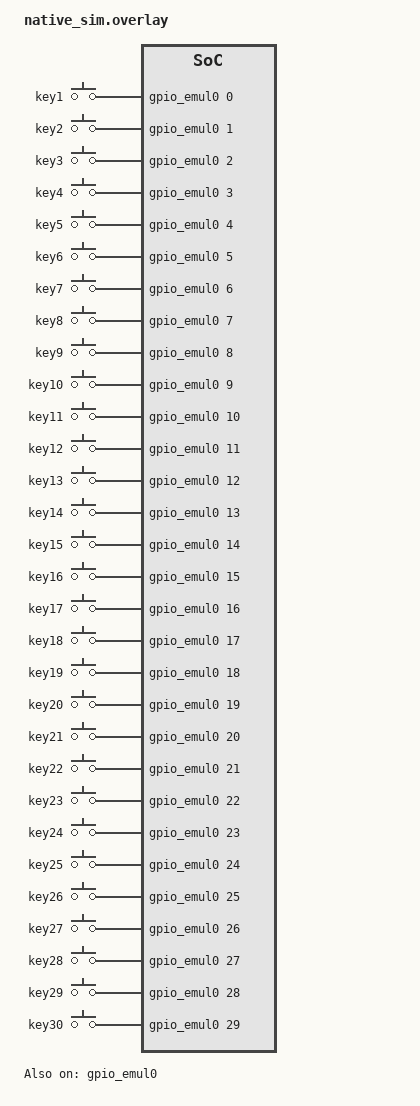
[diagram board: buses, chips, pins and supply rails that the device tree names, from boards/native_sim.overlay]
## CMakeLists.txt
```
# SPDX-License-Identifier: Apache-2.0

cmake_minimum_required(VERSION 3.20.0)
find_package(Zephyr REQUIRED HINTS $ENV{ZEPHYR_BASE})
project(digital_twin)


if(CONFIG_BOARD_NATIVE_SIM)
    # enable sim sources here
    FILE(GLOB specific_sources "native_sim/src/*.c" )
    target_include_directories(app PRIVATE ${CMAKE_CURRENT_SOURCE_DIR}/native_sim/inc)
   
else()
    #specify hardware drivers
   
    FILE(GLOB specific_sources 
        "hardwareControl/src/*.c" 
        "hardware/src/*.c")
    target_include_directories(app PRIVATE 
        ${CMAKE_CURRENT_SOURCE_DIR}/hardwareControl/inc 
        ${CMAKE_CURRENT_SOURCE_DIR}/hardware/inc )
endif()
#set(SOURCES ${app_sources} ${app_headers})

FILE(GLOB app_sources "src/*.c" )       # common source files (both the sim and the real deal)
FILE(GLOB states "states/src/*.c" )
FILE(GLOB tests "tests/src/*.c" )       # Specifically for testing, might not be necessary later.

target_sources(app PRIVATE 
    ${app_sources}
    ${states}
    ${tests}        # Specifically for testing, might not be necessary later.
    
    ${specific_sources}
    ${hardware}
    )

target_include_directories(app PRIVATE 
        ${CMAKE_CURRENT_SOURCE_DIR}/inc
        ${CMAKE_CURRENT_SOURCE_DIR}/states/inc
        ${CMAKE_CURRENT_SOURCE_DIR}/tests/inc   # Specifically for testing, might not be necessary later.
)

message(STATUS "\n CMAKE DEBUG INFO \n Sources: ${app_sources}")
message(STATUS "States: ${states}")
message(STATUS "dir  ${CMAKE_CURRENT_SOURCE_DIR}")
message(STATUS " \n\n\n\ FOR THE BOARD ${CONFIG_BOARD} \n\n\n\ " )
message(STATUS "$ENV{ZEPHYR_BASE}")
message(STATUS "Include directories: ${CMAKE_CURRENT_SOURCE_DIR}/inc ${CMAKE_CURRENT_SOURCE_DIR}/states/inc")

message(STATUS " END OF CMAKE \n\n\n\n\n\n\n\n\ " )
```

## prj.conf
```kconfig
# CONFIG_GPIO=y
# CONFIG_GPIO_EMUL=y

# # LVGL config
# CONFIG_LVGL=y
# CONFIG_LV_MEM_CUSTOM=y
# CONFIG_LV_USE_LOG=y
# CONFIG_LV_USE_LABEL=y
# CONFIG_LV_USE_BTN=y
# CONFIG_LV_USE_ARC=y
# CONFIG_LV_USE_IMG=y

# CONFIG_ENTROPY_GENERATOR=y
```

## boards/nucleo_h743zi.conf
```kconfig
CONFIG_GPIO=y
CONFIG_DEBUG_OPTIMIZATIONS=y
CONFIG_SIZE_OPTIMIZATIONS=n
CONFIG_SPEED_OPTIMIZATIONS=n
CONFIG_ENTROPY_GENERATOR=y

CONFIG_STDOUT_CONSOLE=y
CONFIG_CBPRINTF_FP_SUPPORT=y

CONFIG_I2C=y
CONFIG_SENSOR=y
CONFIG_LSM6DSO_TRIGGER_NONE=y
CONFIG_LIS3MDL_ODR="155"

CONFIG_LSM6DSO=y
CONFIG_LSM6DSO_TRIGGER_NONE=y
CONFIG_PWM=y

CONFIG_GNSS=y
CONFIG_GNSS_SATELLITES=y

CONFIG_UART_INTERRUPT_DRIVEN=y
CONFIG_MODEM_MODULES=y

CONFIG_GNSS_SATELLITES=y
<<<<<<< Updated upstream:native_sim/boards/nucleo_h743zi.conf



CONFIG_DISK_ACCESS=y
CONFIG_SPI=y
CONFIG_FILE_SYSTEM=y

CONFIG_FAT_FILESYSTEM_ELM=y


CONFIG_MAIN_STACK_SIZE=16384
#CONFIG_STM32_VREF=n
#CONFIG_STM32_VBAT=n
#CONFIG_STM32_TEMP=n



#CONFIG_SDHC_SUPPORT_SPI_MODE=y
#CONFIG_DISK_DRIVER_SDHC=y
```

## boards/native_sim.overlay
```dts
#include <zephyr/dt-bindings/input/input-event-codes.h>
#include <zephyr/dt-bindings/lvgl/lvgl.h>

/ {
	aliases {
		sw0 = &key1;
		sw1  = &key2;
		sw2  = &key3;
		sw3  = &key4;
		sw4  = &key5;
		sw5  = &key6;
		sw6  = &key7;
		sw7  = &key8;
		sw8  = &key9;
		sw9  = &key10;
		sw10 = &key11;
		sw11 = &key12;
		sw12 = &key13;
		sw13 = &key14;
		sw14 = &key15;
		sw15 = &key16;
		sw16 = &key17;
		sw17 = &key18;
		sw18 = &key19;
		sw19 = &key20;
		sw20 = &key21;
		sw21 = &key22;
		sw22 = &key23;
		sw23 = &key24;
		sw24 = &key25;
		sw25 = &key26;
		sw26 = &key27;
		sw27 = &key28;
		sw28 = &key29;
		sw29 = &key30;

		//gpio0 = &gpio_emul0;
	};

	//emulated gpio description
    gpio_emul0: gpio_emul_0@0 {
		status = "okay";
		compatible = "zephyr,gpio-emul";
		rising-edge;
		falling-edge;
		high-level;
		low-level;
		gpio-controller;
		ngpios = <30>; // Number of GPIO pins
		#gpio-cells = <2>;
		reg = <0 0x1000>;
	};
	
	keys: keys {
		compatible = "gpio-keys";
		//16 keys 4x4 matrix
		key1: key1 {
			gpios = <&gpio_emul0 0 GPIO_ACTIVE_HIGH>;
			zephyr,code = <INPUT_KEY_1>;
		};
		key2: key2 {
			gpios = <&gpio_emul0 1 GPIO_ACTIVE_HIGH>;
			zephyr,code = <INPUT_KEY_2>;
		};
		key3: key3 {
			gpios = <&gpio_emul0 2 GPIO_ACTIVE_HIGH>;
			zephyr,code = <INPUT_KEY_3>;
		};
		key4: key4 {
			gpios = <&gpio_emul0 3 GPIO_ACTIVE_HIGH>;
			zephyr,code = <INPUT_KEY_4>;
		};
		key5: key5 {
			gpios = <&gpio_emul0 4 GPIO_ACTIVE_HIGH>;
			zephyr,code = <INPUT_KEY_Q>;
		};
		key6: key6 {
			gpios = <&gpio_emul0 5 GPIO_ACTIVE_HIGH>;
			zephyr,code = <INPUT_KEY_W>;
		};
		key7: key7 {
			gpios = <&gpio_emul0 6 GPIO_ACTIVE_HIGH>;
			zephyr,code = <INPUT_KEY_E>;
		};
		key8: key8 {
			gpios = <&gpio_emul0 7 GPIO_ACTIVE_HIGH>;
			zephyr,code = <INPUT_KEY_R>;
		};
		key9: key9 {
			gpios = <&gpio_emul0 8 GPIO_ACTIVE_HIGH>;
			zephyr,code = <INPUT_KEY_A>;
		};
		key10: key10 {
			gpios = <&gpio_emul0 9 GPIO_ACTIVE_HIGH>;
			zephyr,code = <INPUT_KEY_S>;
		};
		key11: key11 {
			gpios = <&gpio_emul0 10 GPIO_ACTIVE_HIGH>;
			zephyr,code = <INPUT_KEY_D>;
		};
		key12: key12 {
			gpios = <&gpio_emul0 11 GPIO_ACTIVE_HIGH>;
			zephyr,code = <INPUT_KEY_F>;
		};
		key13: key13 {
			gpios = <&gpio_emul0 12 GPIO_ACTIVE_HIGH>;
			zephyr,code = <INPUT_KEY_Z>;
		};
		key14: key14 {
			gpios = <&gpio_emul0 13 GPIO_ACTIVE_HIGH>;
			zephyr,code = <INPUT_KEY_X>;
		};
		key15: key15 {
			gpios = <&gpio_emul0 14 GPIO_ACTIVE_HIGH>;
			zephyr,code = <INPUT_KEY_C>;
		};
		key16: key16 {
			gpios = <&gpio_emul0 15 GPIO_ACTIVE_HIGH>;
			zephyr,code = <INPUT_KEY_V>;
		};
		//3 ABC buttons
		key17: key17 {
			gpios = <&gpio_emul0 16 GPIO_ACTIVE_HIGH>;
			zephyr,code = <INPUT_KEY_5>;
		};
		key18: key18 {
			gpios = <&gpio_emul0 17 GPIO_ACTIVE_HIGH>;
			zephyr,code = <INPUT_KEY_6>;
		};
		key19: key19 {
			gpios = <&gpio_emul0 18 GPIO_ACTIVE_HIGH>;
			zephyr,code = <INPUT_KEY_7>;
		};
		// 10 for switches
		key20: key20 {
			gpios = <&gpio_emul0 19 GPIO_ACTIVE_HIGH>;
			zephyr,code = <INPUT_KEY_T>;
		};
		key21: key21 {
			gpios = <&gpio_emul0 20 GPIO_ACTIVE_HIGH>;
			zephyr,code = <INPUT_KEY_Y>;
		};
		key22: key22 {
			gpios = <&gpio_emul0 21 GPIO_ACTIVE_HIGH>;
			zephyr,code = <INPUT_KEY_U>;
		};
		key23: key23 {
			gpios = <&gpio_emul0 22 GPIO_ACTIVE_HIGH>;
			zephyr,code = <INPUT_KEY_I>;
		};
		key24: key24 {
			gpios = <&gpio_emul0 23 GPIO_ACTIVE_HIGH>;
			zephyr,code = <INPUT_KEY_O>;
		};
		key25: key25 {
        	gpios = <&gpio_emul0 24 GPIO_ACTIVE_HIGH>;
        	zephyr,code = <INPUT_KEY_G>;
		};
		key26: key26 {
			gpios = <&gpio_emul0 25 GPIO_ACTIVE_HIGH>;
			zephyr,code = <INPUT_KEY_H>;
		};
		key27: key27 {
			gpios = <&gpio_emul0 26 GPIO_ACTIVE_HIGH>;
			zephyr,code = <INPUT_KEY_J>;
		};
		key28: key28 {
			gpios = <&gpio_emul0 27 GPIO_ACTIVE_HIGH>;
			zephyr,code = <INPUT_KEY_K>;
		};
		key29: key29 {
			gpios = <&gpio_emul0 28 GPIO_ACTIVE_HIGH>;
			zephyr,code = <INPUT_KEY_L>;
		};
		key30: key30 {
			gpios = <&gpio_emul0 29 GPIO_ACTIVE_HIGH>;
			zephyr,code = <INPUT_KEY_0>;
		};
	};

	lvgl_button_input {
		compatible = "zephyr,lvgl-button-input";
		input = <&keys>;
		input-codes = <INPUT_KEY_1>;
		coordinates = <221 69>;
	};
};

&gpio_emul0 {
	ngpios = <30>;

	sdl_gpio {
		status = "okay";
		compatible = "zephyr,gpio-emul-sdl";
		scancodes = <30 31 32 33
					20 26 8 21
					4 22 7 9
					29 27 6 25
					34 35 36 
					23 28 24 12 18
					10 11 13 14 15
					39>;
	};
};

// Display
&sdl_dc {
    width = <520>;
    height = <520>;
};
```

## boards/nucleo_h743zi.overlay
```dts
/ {
	soc {
		pinctrl: pin-controller@58020000 {
			//disable pins
			adc1_inp15_pa3: adc1_inp15_pa3 {
				status = "disabled";
			};
			adc3_inp5_pf3: adc3_inp5_pf3 {
				status = "disabled";
			};
			dac1_out1_pa4: dac1_out1_pa4 {
				status = "disabled";
			};
			eth_crs_dv_pa7: eth_crs_dv_pa7 {
				status = "disabled";
			};
			eth_mdc_pc1: eth_mdc_pc1 {
				status = "disabled";
			};
			eth_mdio_pa2: eth_mdio_pa2 {
				status = "disabled";
			};
			eth_ref_clk_pa1: eth_ref_clk_pa1 {
				status = "disabled";
			};
			eth_rxd0_pc4: eth_rxd0_pc4 {
				status = "disabled";
			};
			eth_rxd1_pc5: eth_rxd1_pc5 {
				status = "disabled";
			};
			eth_txd0_pg13: eth_txd0_pg13 {
				status = "disabled";
			};
			eth_txd1_pb13: eth_txd1_pb13 {
				status = "disabled";
			};
			eth_tx_en_pg11: eth_tx_en_pg11 {
				status = "disabled";
			};
			fdcan1_rx_pd0: fdcan1_rx_pd0 {
				status = "disabled";
			};
			fdcan1_tx_pd1: fdcan1_tx_pd1 {
				status = "disabled";
			};
			i2c1_scl_pb8: i2c1_scl_pb8 {
				status = "okay";
			};
			i2c1_sda_pb9: i2c1_sda_pb9 {
				status = "okay";
			};
			spi1_miso_pa6: spi1_miso_pa6 {
				status = "disabled";
			};
			spi1_mosi_pb5: spi1_mosi_pb5 { 
				status = "disabled";
			};
			spi1_sck_pa5: spi1_sck_pa5 {
				status = "disabled";
			};




			tim12_ch1_pb14: tim12_ch1_pb14 {
				status = "disabled";
			};
			usart3_rx_pd9: usart3_rx_pd9 {
				status = "disabled";
			};
			usart3_tx_pd8: usart3_tx_pd8 {
				status = "disabled";
			};

			//enable and configure pins
			usb_otg_fs_dm_pa11: usb_otg_fs_dm_pa11 {
				pinmux = < 0x16a >;
				phandle = < 0x22 >;
				status = "okay";
			};
			usb_otg_fs_dp_pa12: usb_otg_fs_dp_pa12 {
				pinmux = < 0x18a >;
				phandle = < 0x23 >;
				status = "okay";
			};
			usart1_rx_pb6: usart1_rx_pb6 {
				pinmux = <STM32_PINMUX('B', 6, AF7)>;
				status = "okay";
			};
			usart1_tx_pb7: usart1_tx_pb7 {
				pinmux = <STM32_PINMUX('B', 7, AF7)>;
				bias-pull-up;
				status = "okay";
			};
			usart2_rx_pb3: usart2_tx_pa3 {
				pinmux = <STM32_PINMUX('a', 3, AF7)>;
				status = "okay";
			};
			usart2_tx_pb2: usart2_tx_pa2 {
				pinmux = <STM32_PINMUX('a', 2, AF7)>;
				bias-pull-up;
				status = "okay";
			};
			i2c1_scl_pb8: i2c1_scl_pb8 {
				pinmux = <STM32_PINMUX('b', 8, AF4)>;
				bias-pull-up;
				drive-open-drain;
				status = "okay";
				phandle = < 0xb >;
			};
			i2c1_sda_pb9: i2c1_sda_pb9 {
				pinmux = <STM32_PINMUX('b', 9, AF4)>;
				bias-pull-up;
				drive-open-drain;
				status = "okay";
				phandle = < 0xc >;
			};
			adc1_inp2_pf11: adc1_inp2_pf11 {
				pinmux = <STM32_PINMUX('f', 11, AF10)>;
				status = "okay";
			};
			tim2_ch3_pb10: tim2_ch3_pb10{
				pinmux = <STM32_PINMUX('b', 10, AF1)>;
				status = "okay";
			};
			tim4_ch1_pd12: tim4_ch1_pd12{
				pinmux = <STM32_PINMUX('d', 12, AF2)>;
				status = "okay";
			};
			tim5_ch2_pa1: tim5_ch2_pa1{
				pinmux = <STM32_PINMUX('a', 1, AF2)>;
				status = "okay";
			};
			
			spi4_nss_pe11: spi4_nss_pe11 {
				status = "okay";
			};
			spi4_miso_pe13: spi4_miso_pe13 {
				status = "okay";
			};
			spi4_mosi_pe14: spi4_mosi_pe14 { 
				status = "okay";
			};
			spi4_sck_pe12: spi4_sck_pe12 {
				status = "okay";
			};
		};
	};

	gpioCustom {
		compatible = "gpio-keys";

		shift_Data_In_16x16: gpioc_8 {
			gpios = <&gpioc 8 GPIO_ACTIVE_HIGH>;
		};
		shift_Output_Enable_16x16: gpioc_7 {
			gpios = <&gpioc 7 GPIO_ACTIVE_HIGH>;
		};
		shift_Clock_16x16: gpioc_6 {
			gpios = <&gpioc 6 GPIO_ACTIVE_HIGH>;
		};
		MUX_A_16x16: gpiog_8 {
			gpios = <&gpiog 8 GPIO_ACTIVE_HIGH>;
		};
		MUX_B_16x16: gpiog_7 {
			gpios = <&gpiog 7 GPIO_ACTIVE_HIGH>;
		};
		MUX_C_16x16: gpiog_6 {
			gpios = <&gpiog 6 GPIO_ACTIVE_HIGH>;
		};
		MUX_D_16x16: gpiog_5 {
			gpios = <&gpiog 5 GPIO_ACTIVE_HIGH>;
		};
		gyro_interrupt_1: gpiog_3 {
			gpios = <&gpiog 3 GPIO_ACTIVE_HIGH>;
		};
		gyro_interrupt_2: gpiog_2 {
			gpios = <&gpiog 2 GPIO_ACTIVE_HIGH>;
		};
		shift_Data_In_Circle: gpiod_9 {
			gpios = <&gpiod 9 GPIO_ACTIVE_HIGH>;
		};
		shift_Output_Enable_Circle: gpiod_8 {
			gpios = <&gpiod 8 GPIO_ACTIVE_HIGH>;
		};
		shift_Clock_Circle: gpiob_15 {
			gpios = <&gpiob 15 GPIO_ACTIVE_HIGH>;
		};
		MUX_C_Circle: gpiob_14 {
			gpios = <&gpiob 14 GPIO_ACTIVE_HIGH>;
		};
		MUX_B_Circle: gpiob_13 {
			gpios = <&gpiob 13 GPIO_ACTIVE_HIGH>;
		};
		MUX_A_Circle: gpiob_12 {
			gpios = <&gpiob 12 GPIO_ACTIVE_HIGH>;
		};
		decimal_Point_7_Segment: gpioe_10 {
			gpios = <&gpioe 10 GPIO_ACTIVE_HIGH>;
		};
		MUX_DIG4_7_Segment: gpioe_9 {
			gpios = <&gpioe 9 GPIO_ACTIVE_HIGH>;
		};
		MUX_DIG3_7_Segment: gpioe_8 {
			gpios = <&gpioe 8 GPIO_ACTIVE_HIGH>;
		};
		MUX_DIG2_7_Segment: gpioe_7 {
			gpios = <&gpioe 7 GPIO_ACTIVE_HIGH>;
		};
		MUX_DIG1_7_Segment: gpiog_1 {
			gpios = <&gpiog 1 GPIO_ACTIVE_HIGH>;
		};
		BCD_D_7_Segment: gpiog_0 {
			gpios = <&gpiog 0 GPIO_ACTIVE_HIGH>;
		};
		BCD_C_7_Segment: gpiof_15 {
			gpios = <&gpiof 15 GPIO_ACTIVE_HIGH>;
		};
		BCD_B_7_Segment: gpiof_14 {
			gpios = <&gpiof 14 GPIO_ACTIVE_HIGH>;
		};
		BCD_A_7_Segment: gpiof_13 {
			gpios = <&gpiof 13 GPIO_ACTIVE_HIGH>;
		};
		battery_low_led: gpiob_2 {
			gpios = <&gpiob 2 GPIO_ACTIVE_HIGH>;
		};
		button_1_4x4: gpiob_0 {
			gpios = <&gpiob 0 GPIO_PULL_UP>;
		};
		button_2_4x4: gpioc_5 {
			gpios = <&gpioc 5 GPIO_PULL_UP>;
		};
		button_3_4x4: gpioc_4 {
			gpios = <&gpioc 4 GPIO_PULL_UP>;
		};
		button_4_4x4: gpioa_7 {
			gpios = <&gpioa 7 GPIO_PULL_UP>;
		};
		button_5_4x4: gpioa_6 {
			gpios = <&gpioa 6 GPIO_PULL_UP>;
		};
		button_6_4x4: gpioa_5 {
			gpios = <&gpioa 5 GPIO_PULL_UP>;
		};
		button_7_4x4: gpioc_3 {
			gpios = <&gpioc 3 GPIO_PULL_UP>;
		};
		button_8_4x4: gpioc_2 {
			gpios = <&gpioc 2 GPIO_PULL_UP>;
		};
		button_9_4x4: gpioc_1 {
			gpios = <&gpioc 1 GPIO_PULL_UP>;
		};
		button_10_4x4: gpioc_0 {
			gpios = <&gpioc 0 GPIO_PULL_UP>;
		};
		button_11_4x4: gpiof_10 {
			gpios = <&gpiof 10 GPIO_PULL_UP>;
		};
		button_12_4x4: gpiof_9 {
			gpios = <&gpiof 9 GPIO_PULL_UP>;
		};
		button_13_4x4: gpiof_8 {
			gpios = <&gpiof 8 GPIO_PULL_UP>;
		};
		button_14_4x4: gpiof_7 {
			gpios = <&gpiof 7 GPIO_PULL_UP>;
		};
		button_15_4x4: gpiof_6 {
			gpios = <&gpiof 6 GPIO_PULL_UP>;
		};
		button_16_4x4: gpiof_5 {
			gpios = <&gpiof 5 GPIO_PULL_UP>;
		};
		shift_Data_in_4x4: gpiof_4 {
			gpios = <&gpiof 4 GPIO_ACTIVE_HIGH>;
		};
		shift_Output_Enable_4x4: gpiof_3 {
			gpios = <&gpiof 3 GPIO_ACTIVE_HIGH>;
		};
		shift_Clock_4x4: gpiof_2 {
			gpios = <&gpiof 2 GPIO_ACTIVE_HIGH>;
		};
		MUX_B_4x4: gpiof_1 {
			gpios = <&gpiof 1 GPIO_ACTIVE_HIGH>;
		};
		MUX_A_4x4: gpiof_0 {
			gpios = <&gpiof 0 GPIO_ACTIVE_HIGH>;
		};
		ABC_button_a: gpioc_13 {
			gpios = <&gpioc 13 GPIO_PULL_UP>;
		};
		ABC_led_a: gpioe_6 {
			gpios = <&gpioe 6 GPIO_ACTIVE_HIGH>;
		};
		ABC_button_b: gpioe_5 {
			gpios = <&gpioe 5 GPIO_PULL_UP>;
		};
		ABC_led_b: gpioe_4 {
			gpios = <&gpioe 4 GPIO_ACTIVE_HIGH>;
		};
		ABC_button_c: gpioe_3 {
			gpios = <&gpioe 3 GPIO_PULL_UP>;
		};
		ABC_led_c: gpioe_2 {
			gpios = <&gpioe 2 GPIO_ACTIVE_HIGH>;
		};
		switches_1_On: gpioe_1 {
			gpios = <&gpioe 1 GPIO_PULL_UP>;
		};
		switches_1_Off: gpioe_0 {
			gpios = <&gpioe 0 GPIO_PULL_UP>;
		};
		switches_2_On: gpiob_4 {
			gpios = <&gpiob 4 GPIO_PULL_UP>;
		};
		switches_2_Off: gpiob_3 {
			gpios = <&gpiob 3 GPIO_PULL_UP>;
		};
		switches_3_On: gpiog_15 {
			gpios = <&gpiog 15 GPIO_PULL_UP>;
		};
		switches_3_Off: gpiog_14 {
			gpios = <&gpiog 14 GPIO_PULL_UP>;
		};
		switches_4_On: gpiog_13 {
			gpios = <&gpiog 13 GPIO_PULL_UP>;
		};
		switches_4_Off: gpiog_12 {
			gpios = <&gpiog 12 GPIO_PULL_UP>;
		};
		switches_5_On: gpiog_11 {
			gpios = <&gpiog 11 GPIO_PULL_UP>;
		};
		switches_5_Off: gpiog_10 {
			gpios = <&gpiog 10 GPIO_PULL_UP>;
		};
		LCD_Display_E: gpiog_9 {
			gpios = <&gpiog 9 GPIO_ACTIVE_HIGH>;
		};
		LCD_Display_RS: gpiod_7 {
			gpios = <&gpiod 7 GPIO_ACTIVE_HIGH>;
		};
		LCD_Display_Backlight_Enable: gpiod_6 {
			gpios = <&gpiod 6 GPIO_ACTIVE_HIGH>;
		};
		start_Button: gpiod_5 {
			gpios = <&gpiod 5 GPIO_PULL_UP>;
		};
		start_Led: gpiod_4 {
			gpios = <&gpiod 4 GPIO_ACTIVE_HIGH>;
		};
		LCD_Display_D7: gpiod_3 {
			gpios = <&gpiod 3 GPIO_ACTIVE_HIGH>;
		};
		LCD_Display_D6: gpiod_2 {
			gpios = <&gpiod 2 GPIO_ACTIVE_HIGH>;
		};
		LCD_Display_D5: gpiod_1 {
			gpios = <&gpiod 1 GPIO_ACTIVE_HIGH>;
		};
		LCD_Display_D4: gpiod_0 {
			gpios = <&gpiod 0 GPIO_ACTIVE_HIGH>;
		};
		LCD_Display_D3: gpioc_12 {
			gpios = <&gpioc 12 GPIO_ACTIVE_HIGH>;
		};
		LCD_Display_D2: gpioc_11 {
			gpios = <&gpioc 11 GPIO_ACTIVE_HIGH>;
		};
		LCD_Display_D1: gpioc_10 {
			gpios = <&gpioc 10 GPIO_ACTIVE_HIGH>;
		};
		LCD_Display_D0: gpioa_15 {
			gpios = <&gpioa 15 GPIO_ACTIVE_HIGH>;
		};
		data_ready_3d_compass: gpioa_9 {
			gpios = <&gpioa 9 GPIO_PULL_UP>;
		};
		interupt_3d_compass: gpioa_8 {
			gpios = <&gpioa 8 GPIO_PULL_UP>;
		};
		pe11_cs: cs_pe11 {
    		gpios = <&gpioe 11 GPIO_ACTIVE_LOW>;
		};
		pe12_spiclk: spiclk_pe12 {
    		gpios = <&gpioe 12 GPIO_ACTIVE_LOW>;
		};
		pe13_spimiso: spimiso_pe13 {
    		gpios = <&gpioe 13 GPIO_ACTIVE_LOW>;
		};
		pe13_spimosi14: spimosi1_pe14 {
    		gpios = <&gpioe 14 GPIO_ACTIVE_LOW>;
		};
	};

	aliases {
		gnss = &gnss;
		shiftdatain16x16 = &shift_Data_In_16x16;
		shiftenable16x16 = &shift_Output_Enable_16x16;
		shiftclock16x16 = &shift_Clock_16x16;
		muxa16x16 = &MUX_A_16x16;
		muxb16x16 = &MUX_B_16x16;
		muxc16x16 = &MUX_C_16x16;
		muxd16x16 = &MUX_D_16x16;
		gyrointerrupt1 = &gyro_interrupt_1;
		gyrointerrupt2 = &gyro_interrupt_2;
		shiftdataincircle = &shift_Data_In_Circle;
		shiftoutputenablecircle = &shift_Output_Enable_Circle;
		shiftclockcircle = &shift_Clock_Circle;
		muxacircle = &MUX_A_Circle;
		muxbcircle = &MUX_B_Circle;
		muxccircle = &MUX_C_Circle;
		decimalpoint7segment = &decimal_Point_7_Segment;
		muxdig17segment = &MUX_DIG1_7_Segment;
		muxdig27segment = &MUX_DIG2_7_Segment;
		muxdig37segment = &MUX_DIG3_7_Segment;
		muxdig47segment = &MUX_DIG4_7_Segment;
		bcdd7segment = &BCD_D_7_Segment;
		bcdc7segment = &BCD_C_7_Segment;
		bcdb7segment = &BCD_B_7_Segment;
		bcda7segment = &BCD_A_7_Segment;
		batterylowled = &battery_low_led;		
		button14x4 = &button_1_4x4;
		button24x4 = &button_2_4x4;
		button34x4 = &button_3_4x4;
		button44x4 = &button_4_4x4;
		button54x4 = &button_5_4x4;
		button64x4 = &button_6_4x4;
		button74x4 = &button_7_4x4;
		button84x4 = &button_8_4x4;
		button94x4 = &button_9_4x4;
		button104x4 = &button_10_4x4;
		button114x4 = &button_11_4x4;
		button124x4 = &button_12_4x4;
		button134x4 = &button_13_4x4;
		button144x4 = &button_14_4x4;
		button154x4 = &button_15_4x4;
		button164x4 = &button_16_4x4;
		shiftdatain4x4 = &shift_Data_in_4x4;
		shiftoutputenable4x4 = &shift_Output_Enable_4x4;
		shiftclock4x4 = &shift_Clock_4x4;
		muxa4x4 = &MUX_A_4x4;
		muxb4x4 = &MUX_B_4x4;
		abcbuttona = &ABC_button_a;
		abcleda = &ABC_led_a;
		abcbuttonb = &ABC_button_b;
		abcledb = &ABC_led_b;
		abcbuttonc = &ABC_button_c;
		abcledc = &ABC_led_c;
		switches1on = &switches_1_On;
		switches1off = &switches_1_Off;
		switches2on = &switches_2_On;
		switches2off = &switches_2_Off;
		switches3on = &switches_3_On;
		switches3off = &switches_3_Off;
		switches4on = &switches_4_On;
		switches4off = &switches_4_Off;
		switches5on = &switches_5_On;
		switches5off = &switches_5_Off;
		lcddisplaye = &LCD_Display_E;
		lcddisplayrs = &LCD_Display_RS;
		lcddisplaybacklightenable = &LCD_Display_Backlight_Enable;
		startbutton = &start_Button;
		startled = &start_Led;
		lcddisplayd7 = &LCD_Display_D7;
		lcddisplayd6 = &LCD_Display_D6;
		lcddisplayd5 = &LCD_Display_D5;
		lcddisplayd4 = &LCD_Display_D4;
		lcddisplayd3 = &LCD_Display_D3;
		lcddisplayd2 = &LCD_Display_D2;
		lcddisplayd1 = &LCD_Display_D1;
		lcddisplayd0 = &LCD_Display_D0;
		buzzer1=&buzzer1;
		buzzer2=&buzzer2;
		buzzer3=&buzzer3;
		3dcompassdataready = &data_ready_3d_compass;
		3dcompassintterupt = &interupt_3d_compass;
		magnetometer=&magnetometer;
		gyroscope=&gyroscope;
	};

	 chosen {
		zephyr,console = &usart2;
		zephyr,shell-uart = &usart2;
	};

	pwmdevs {
		compatible = "pwm-leds";
		status = "okay";
		buzzer1: buzzer_pwm1 {
			pwms = 	<&pwm1 2 0 PWM_POLARITY_NORMAL>;
			status = "okay";
		};
		buzzer2: buzzer_pwm2 {
			pwms = 	<&pwm2 3 0 PWM_POLARITY_NORMAL>;
			status = "okay";
		};
		buzzer3: buzzer_pwm3 {
			pwms = 	<&pwm3 1 0 PWM_POLARITY_NORMAL>;
			status = "okay";
		};
	};
};


//disable unused


&adc1{
		status = "disabled";
		pinctrl-0 = < &adc1_inp2_pf11 >;
};

&adc3{
		status = "disabled";
};

&dac1{
		status = "disabled";
};

&usart3 {
		status = "disabled";
};

&spi1 {
		status = "disabled";
};

&fdcan1{
		status = "disabled";
};

&leds{
		status = "disabled";
};

&red_pwm_led {
		status = "okay";
};

&user_button {
		status = "disabled";
};

&clk_hse {
		status = "disabled";
};

//enable used

&usart1 {
		pinctrl-0 = < &usart1_tx_pb7 &usart1_rx_pb6 >;
		pinctrl-names = "default";
        current-speed = <9600>;
        status = "okay";
        gnss: gnss-nmea-generic {
                compatible = "gnss-nmea-generic";
        };
};

&usart2 {
		pinctrl-0 = < &usart2_tx_pa2 &usart2_rx_pa3 >;
		pinctrl-names = "default";
        current-speed = <115200>;
        status = "okay";
};

/*
&spi4 {
    status = "okay";
	pinctrl-0 = <&spi4_nss_pe11>;
	pinctrl-names = "default";
    //cs-gpios = <&gpioc 11 GPIO_ACTIVE_LOW>; 

    sdcard@0 {
        compatible = "zephyr,sdmmc-disk";
        reg = <0>;  // Chip select 0
        label = "SD";
        spi-max-frequency = <8000000>;
        status = "okay";
    };
};*/


&i2c1{
		status = "okay";
		pinctrl-0 = < &i2c1_scl_pb8 &i2c1_sda_pb9 >;

		magnetometer: lis3mdl-magn@1e {// changed this to what the error recommended without checking, it was 1e instead of 1c
			compatible = "st,lis3mdl-magn";
			reg = <0x1C>;
			irq-gpios = <&gpioa 9 GPIO_ACTIVE_HIGH>;
		};

		gyroscope: lsm6dso@6a {
			compatible = "st,lsm6dso";
			reg = <0x6a>;
			irq-gpios = <&gpiog 3 GPIO_ACTIVE_HIGH>; //the selected pin is wrong. check schematic
		};
};

// &timers1{
// 	status = "okay";
// 	st,prescaler = < 0x140 >; 
// 	pwm1: pwm{
// 		compatible = "st,stm32-pwm";
// 		status = "okay";
// 		#pwm-cells = < 0x3 >;
// 		pinctrl-0 = < &tim1_ch1_pe9>;
// 		pinctrl-names = "default";
// 	};
// };

&timers2{
	status = "okay";
	st,prescaler = < 0x140 >; 
	pwm2: pwm{
		compatible = "st,stm32-pwm";
		status = "okay";
		#pwm-cells = < 0x3 >;
		pinctrl-0 = < &tim2_ch3_pb10>;
		pinctrl-names = "default";
	};
};

&timers4{
	status = "okay";
	st,prescaler = < 0x140 >; 
	pwm3: pwm{
		compatible = "st,stm32-pwm";
		status = "okay";
		#pwm-cells = < 0x3 >;
		pinctrl-0 = < &tim4_ch1_pd12>;
		pinctrl-names = "default";
	};
};

&timers5{
	status = "okay";
	st,prescaler = < 0x140 >; 
	pwm1: pwm{
		compatible = "st,stm32-pwm";
		status = "okay";
		#pwm-cells = < 0x3 >;
		pinctrl-0 = < &tim5_ch2_pa1>;
		pinctrl-names = "default";
	};
};

&timers12{
	status = "disabled";
	pwm{
		status = "disabled";
	};
};

&clk_hsi{
	status = "okay";
	hsi-div = <1>;
};

&clk_hsi48{
	status = "okay";
};

&rng{
	status = "okay";
};

&pll {
	div-m = <4>;
	mul-n = <40>;
	div-p = <2>;
	div-q = <3>;
	div-r = <2>;
	clocks = <&clk_hsi>;
	status = "okay";
};

&rcc {
	clocks = <&pll>;
	clock-frequency = <DT_FREQ_M(320)>;
	d1cpre = < 0x1 >;
	hpre = < 0x2 >;
	d1ppre = < 0x2 >;
	d2ppre1 = < 0x2 >;
	d2ppre2 = < 0x2 >;
	d3ppre = < 0x2 >;
};

&red_pwm_led{
	status = "disabled";
};
```

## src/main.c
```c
/*
 * SPDX-License-Identifier: Apache-2.0
 */


#include <zephyr/device.h>
#include <zephyr/devicetree.h>
#include <zephyr/drivers/display.h>
#include <zephyr/drivers/gpio.h>

#include <stdio.h>
#include <string.h>
#include <zephyr/kernel.h>

#include "statemachine.h"
#include "threads.h"
#include "SD.h"


#ifdef CONFIG_BOARD_NATIVE_SIM
#include "lvgl_ui.h"
#include <lvgl.h>
#include <lvgl_input_device.h>
#else
#include "SD.h"
#endif





#define LOG_LEVEL CONFIG_LOG_DEFAULT_LEVEL
#include <zephyr/logging/log.h>
LOG_MODULE_REGISTER(app);

// The stack size of all threads
#define STACKSIZE 1024

//LVGL stack
#define STACKSIZE2 16000

// Thread priority values (lower value is higher priority)
#define TMAIN_PRIORITY 9
#define TLVGL_PRIORITY 3

#ifdef CONFIG_BOARD_NATIVE_SIM 

void lvgl_task_handler_loop() {
    while (1) {
		//k_cpu_idle();
        lv_task_handler();
		//for native_sim
        k_sleep(K_MSEC(1));
    }
}

#endif

int tmain() // Core thread
{
	#ifdef CONFIG_BOARD_NATIVE_SIM 
	const struct device *display_dev;
	display_dev = DEVICE_DT_GET(DT_CHOSEN(zephyr_display));
	if (!device_is_ready(display_dev)) {
		LOG_ERR("Device not ready, aborting test");
		return 0;
	}

	//lv_task_handler();
	display_blanking_off(display_dev);

	setup_ui(lv_scr_act());

	printf("Main\n");
	#else
	testSD();
	#endif

	startStatemachine();

	return 0;
}

// Define the threads
K_THREAD_DEFINE(tmain_id, STACKSIZE, tmain, NULL, NULL, NULL, TMAIN_PRIORITY, 0, 0);
#ifdef CONFIG_BOARD_NATIVE_SIM
K_THREAD_DEFINE(tlvgl_id, STACKSIZE2, lvgl_task_handler_loop, NULL, NULL, NULL, TLVGL_PRIORITY, 0, 0);
#endif
```

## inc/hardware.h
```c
#ifndef HARDWARE_H
#define HARDWARE_H

#include <zephyr/drivers/gpio.h>
#include <stdio.h>
#include <zephyr/kernel.h>

#define LEDMATRIXLEDSINROW		16
#define LEDMATRIXROWS 			16
#define CIRCLEMATRIXLEDSINROW		8
#define CIRCLEMATRIXROWS 			8
#define BUTTONMATRIXLEDSINROW		4
#define BUTTONMATRIXROWS 			4

#ifndef HIGH
#define HIGH 1
#endif

#ifndef LOW
#define LOW 0
#endif

static const struct gpio_dt_spec abcbutton[3] = {
	GPIO_DT_SPEC_GET(DT_ALIAS(sw16), gpios),
	GPIO_DT_SPEC_GET(DT_ALIAS(sw17), gpios),
	GPIO_DT_SPEC_GET(DT_ALIAS(sw18), gpios),
};

static const struct gpio_dt_spec buttonsButtonMatrix[16] = {
	GPIO_DT_SPEC_GET(DT_ALIAS(sw0), gpios),
	GPIO_DT_SPEC_GET(DT_ALIAS(sw1), gpios),
	GPIO_DT_SPEC_GET(DT_ALIAS(sw2), gpios),
	GPIO_DT_SPEC_GET(DT_ALIAS(sw3), gpios),
	GPIO_DT_SPEC_GET(DT_ALIAS(sw4), gpios),
	GPIO_DT_SPEC_GET(DT_ALIAS(sw5), gpios),
	GPIO_DT_SPEC_GET(DT_ALIAS(sw6), gpios),
	GPIO_DT_SPEC_GET(DT_ALIAS(sw7), gpios),
	GPIO_DT_SPEC_GET(DT_ALIAS(sw8), gpios),
	GPIO_DT_SPEC_GET(DT_ALIAS(sw9), gpios),
	GPIO_DT_SPEC_GET(DT_ALIAS(sw10), gpios),
	GPIO_DT_SPEC_GET(DT_ALIAS(sw11), gpios),
	GPIO_DT_SPEC_GET(DT_ALIAS(sw12), gpios),
	GPIO_DT_SPEC_GET(DT_ALIAS(sw13), gpios),
	GPIO_DT_SPEC_GET(DT_ALIAS(sw14), gpios),
	GPIO_DT_SPEC_GET(DT_ALIAS(sw15), gpios)
};

static const struct gpio_dt_spec switchon[5] = {
	GPIO_DT_SPEC_GET(DT_ALIAS(sw19), gpios),
	GPIO_DT_SPEC_GET(DT_ALIAS(sw20), gpios),
	GPIO_DT_SPEC_GET(DT_ALIAS(sw21), gpios),
	GPIO_DT_SPEC_GET(DT_ALIAS(sw22), gpios),
	GPIO_DT_SPEC_GET(DT_ALIAS(sw23), gpios),
};

static const struct gpio_dt_spec switchoff[5] = {
	GPIO_DT_SPEC_GET(DT_ALIAS(sw24), gpios),
	GPIO_DT_SPEC_GET(DT_ALIAS(sw25), gpios),
	GPIO_DT_SPEC_GET(DT_ALIAS(sw26), gpios),
	GPIO_DT_SPEC_GET(DT_ALIAS(sw27), gpios),
	GPIO_DT_SPEC_GET(DT_ALIAS(sw28), gpios),
};

static const struct gpio_dt_spec startbutton	= GPIO_DT_SPEC_GET(DT_ALIAS(sw29), gpios);

uint8_t abcbuttonsInit();
bool buttons4x4Config();
uint8_t buttons4x4Init();
uint8_t switchesInit();

uint8_t lcdStringWrite(char *msg);
uint8_t lcdEnable();
uint8_t lcdDisable();

uint8_t abcbuttonsGet(char selectedbtn);
uint8_t buttons4x4Get(uint8_t selectedbtn);
uint8_t buttons4x4GetLVGL(uint8_t selectedbtn);
uint8_t switchesGet(uint8_t selectedswitch);
uint8_t startbuttonGet();

uint8_t abcledsSet(char selectedled,bool value);
uint8_t buttonMatrixSet(uint8_t data[BUTTONMATRIXROWS]);
uint8_t circleMatrixSet(uint8_t data[8]);
int8_t ledMatrixSet(int16_t data[16]);
uint8_t sevenSegmentSet(char input[4],uint8_t dpPosition);
uint8_t startledSet(bool value);

#endif // HARDWARE_H
```

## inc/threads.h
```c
#ifndef THREADS_H
#define THREADS_H

#include <zephyr/kernel.h>

#ifdef CONFIG_BOARD_NATIVE_SIM
#include "hardware.h"
#else
#include "genericGpio.h"
#include "circleMatrix.h"
#include "buttonMatrix.h"
#include "ledMatrix.h"
#include "sevenSegment.h"
#endif


extern uint32_t Startupdelay;

// Total number of threads
#define THREAD_AMOUNT 10

#define printf(...)

// The stack size of all threads
#define STACKSIZE 1024

// Thread priority values (lower value is higher priority)
#define TSTARTBUTTON_PRIORITY 7
#define TGYRO_PRIORITY 7
#define TBTNMATRIX_OUT_PRIORITY 4
#define TBTNMATRIX_IN_PRIORITY 7
#define TSWITCHES_PRIORITY 7
#define TPOTMETER_PRIORITY 7
#define TBUZZERS_PRIORITY 4
#define TLEDMATRIX_PRIORITY 4
#define TLEDCIRCLE_PRIORITY 4
#define TSEVENSEG_PRIORITY 4
#define TABCBTN_PRIORITY 7

// Thread IDs
extern const k_tid_t tstartbutton_id;
extern const k_tid_t tgyro_id;
extern const k_tid_t tbtnmatrix_out_id;
extern const k_tid_t tbtnmatrix_in_id;
extern const k_tid_t tswitches_id;
extern const k_tid_t tpotmeter_id;
extern const k_tid_t tbuzzers_id;
extern const k_tid_t tledmatrix_id;
extern const k_tid_t tledcircle_id;
extern const k_tid_t tsevenseg_id;
extern const k_tid_t tabcbtn_id;

// Define the thread functions
// Input thread functions
void tstartbutton(void);
void tgyro(void);
void tbtnmatrix_in(void);
void tswitches(void);
void tpotmeter(void);
void tabcbtn(void);
// Output thread functions
void tbtnmatrix_out(void);
void tbuzzers(void);
void tledmatrix(void);
void tledcircle(void);
void tsevenseg(void);

// Functions for enabling and disabling threads
void enableThreads(char **, unsigned);
void disableThreads(char **, unsigned);
void setThread(char *, bool);

void disableAllThreads();

//mutex protect functions
uint8_t startbuttonGetMutexValue();
uint8_t* btnmatrix_inGetMutexValue();
uint8_t* switchesGetMutexValue();
int32_t potmeterGetMutexValue();
uint8_t* abcbtnGetMutexValue();
void btnmatrix_outSetMutexValue(uint8_t data[4]);
void buzzersSetMutexValue(uint8_t data[3]);
void ledmatrixSetMutexValue(uint16_t data[16]);
void ledcircleSetMutexValue(uint8_t data[8]);
void sevensegSetMutexValue(char input[4],uint8_t dpPosition);


#endif //THREADS_H
```

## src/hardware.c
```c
#include "hardware.h"
#include "lvgl_ui.h"
/** 
 * @brief Configures the buttonsinsmallmatrix.
 * 
 * Checks if the GPIO is available and configures the GPIO for its purpose
 * 
 * @return Returns a 0 on succes and a 1 on error.
 */ 
bool buttons4x4Config()
{
	//check if gpio is available
	uint8_t ret = 0;
	uint8_t amount = 16;
	for (uint8_t i = 0; i < amount; i++)
	{
		ret += gpio_is_ready_dt(&buttonsButtonMatrix[i]);
	}
	if(ret != amount)
	{
		return 1;
	}
	return 0;
}

/** 
 * @brief Initializes the buttonsinsmallmatrix
 * 
 * Sets all pins from floating to 1
 * 
 * @return Returns a 0 on succes and a 1 on error.
 */ 
uint8_t buttons4x4Init()
{
	uint8_t ret = 0;
	uint8_t amount = 16;
	for (uint8_t i = 0; i < amount; i++)
	{
		ret += gpio_pin_configure_dt(&buttonsButtonMatrix[i],GPIO_INPUT);
	}
	if (ret != 0) {
		return 1;
	}
	return 0;
}

uint8_t abcbuttonsInit()
{
	//check if gpio is available
	uint8_t ret = 0;
	uint8_t amount = 3;
	for (uint8_t i = 0; i < amount; i++)
	{
		ret += gpio_is_ready_dt(&abcbutton[i]);
	}
	if(ret != amount)
	{
		return 1;
	}

	for (uint8_t j = 0; j < amount; j++)
	{
		ret += gpio_pin_configure_dt(&abcbutton[j],GPIO_INPUT);
	}
	if (ret != 0) 
	{
		return 1;
	}

	return 0;
}

uint8_t switchesInit(){
	uint8_t ret = 0;
	uint8_t amount = 5;
	//check if gpio is available
	for (uint8_t i = 0; i < amount; i++)
	{
		ret += gpio_is_ready_dt(&switchon[i]);
	}
	for (uint8_t i = 0; i < amount; i++)
	{
		ret += gpio_is_ready_dt(&switchoff[i]);
	}
	if(ret != (amount*2))
	{
		return 1;
	}

	for (uint8_t i = 0; i < amount; i++)
	{
		ret += gpio_pin_configure_dt(&switchon[i],GPIO_INPUT);
	}
	for (uint8_t i = 0; i < amount; i++)
	{
		ret += gpio_pin_configure_dt(&switchoff[i],GPIO_INPUT);
	}
	if (ret != 0) {
		return 1;
	}

	return 0;
}
// Get functions

uint8_t abcbuttonsGet(char selectedbtn)
{	
    uint8_t lvgl_state = 2;

	switch (selectedbtn)
	{
	case 'a':
		lvgl_state = get_button_abc_state(selectedbtn);
        if(lvgl_state == 1){
            return 1;
        }
		return gpio_pin_get(abcbutton[0].port, abcbutton[0].pin);
		break;
	case 'b':
		lvgl_state = get_button_abc_state(selectedbtn);
        if(lvgl_state == 1){
            return 1;
        }
		return gpio_pin_get(abcbutton[1].port, abcbutton[1].pin);
		break;
	case 'c':
		lvgl_state = get_button_abc_state(selectedbtn);
        if(lvgl_state == 1){
            return 1;
        }
		return gpio_pin_get(abcbutton[2].port, abcbutton[2].pin);
		break;
	default:
		return 2;
		break;
	}
}

/** 
 * @brief reads value from buttons in small matrix
 * 
 * per button the value can be read using this function
 * 
 * @param[in] selectedbtn – select which button value is returned
 * 
 * @return Returns 0 when the button is pressed
 * Returns a 1 if the button is not pressed
 * Returns a 2 when trying to access a button that does not exist
 */ 
uint8_t buttons4x4Get(uint8_t selectedbtn)
{	
    uint8_t lvgl_state = 2;
	if(selectedbtn < 16 && selectedbtn >= 0)
	{
        lvgl_state = get_button_state(selectedbtn);
        if(lvgl_state == 1){
            return 1;
        }
		return gpio_pin_get(buttonsButtonMatrix[selectedbtn].port, buttonsButtonMatrix[selectedbtn].pin);
	}
	else
	{
		return 2;
	}
	
}

/** 
 * @brief reads value from (LVGL)buttons in small matrix
 * 
 * per button the value can be read using this function
 * 
 * @param[in] selectedbtn – select which button value is returned
 * 
 * @return Returns 0 when the (LVGL)button is pressed
 * Returns a 1 if the (LVGL)button is not pressed
 * Returns a 2 when trying to access a button that does not exist
 */ 
uint8_t buttons4x4GetLVGL(uint8_t selectedbtn)
{	
    uint8_t lvgl_state = 2;
	if(selectedbtn < 16 && selectedbtn >= 0)
	{
        lvgl_state = get_button_state(selectedbtn);
		printk("Button %d state: %d", selectedbtn, lvgl_state);
        if(lvgl_state == 1){
            return 1;
        }
		return gpio_pin_get(buttonsButtonMatrix[selectedbtn].port, buttonsButtonMatrix[selectedbtn].pin);
	}
	else
	{
		return 2;
	}
	
}
/*
 * @return Returns 0 when the switch is in the on state
 * Returns a 1 when the switch is in the off state
 * Returns a 2 when the switch is in the middle state
 */ 
uint8_t switchesGet(uint8_t selectedswitch)
{
	uint8_t lvgl_state = 2;
	bool switchonState = false,switchoffState = false;
	switchonState = gpio_pin_get(switchon[selectedswitch].port, switchon[selectedswitch].pin);
	switchoffState = gpio_pin_get(switchoff[selectedswitch].port, switchoff[selectedswitch].pin);

	lvgl_state = get_switch(selectedswitch);
    if(lvgl_state == 1){
        return 1;
    }

	if(!switchonState)
	{
		return 0;		
	}
	else if(!switchoffState)
	{
		return 1;
	}
	else
	{
		return 2;
	}
}

uint8_t startbuttonGet()
{	
	uint8_t lvgl_state = 2;
	lvgl_state = get_button_start();
    if(lvgl_state == 1){
        return 1;
    }
	return gpio_pin_get(startbutton.port, startbutton.pin);
}

// Set functions
uint8_t abcledsSet(char selectedled,bool value)
{
	switch (selectedled)
	{
	case 'a':
		set_abc_button(0,value);
		return 0;
		break;
	case 'b':
		set_abc_button(1,value);
		return 0;
		break;
	case 'c':
		set_abc_button(2,value);
		return 0;
		break;
	default:
		return 1;
		break;
	}
}

uint8_t buttonMatrixSet(uint8_t data[BUTTONMATRIXROWS])
{
	for (size_t row = 0; row < BUTTONMATRIXROWS; row++)
	{
		for (size_t led = 0; led < BUTTONMATRIXLEDSINROW; led++)
		{
			int index = row * BUTTONMATRIXLEDSINROW + led;
			if(data[row] & 0x1<<led)
			{
				set_button((index), 1);
			}
			else
			{
				set_button((index), 0);
			}
		}
		//TODO: determine this k_sleep delay
		k_sleep(K_USEC(4000));
	}
	return 0;
}

uint8_t circleMatrixSet(uint8_t data[CIRCLEMATRIXROWS])
{
	for (size_t row = 0; row < CIRCLEMATRIXROWS; row++)
	{
		for (size_t led = 0; led < CIRCLEMATRIXLEDSINROW; led++)
		{
			int index = row * CIRCLEMATRIXLEDSINROW + led;
			if(data[row] & 0x1<<led)
			{
				set_led_circle((index), 1);
			}
			else
			{
				set_led_circle((index), 0);
			}
		}

		//TODO: determine this k_sleep delay
		k_sleep(K_USEC(2000));
	}
	return 0;
}

int8_t ledMatrixSet(int16_t data[LEDMATRIXROWS])
{
	for (size_t row = 0; row < LEDMATRIXROWS; row++)
	{
		for (size_t led = 0; led < LEDMATRIXLEDSINROW; led++)
		{
			int index = row * LEDMATRIXLEDSINROW + led;
			if(data[row] & 0x1<<led)
			{
				set_led((index), 1);
			}
			else
			{
				set_led((index), 0);
			}
		}
	}
	return 0;
}

uint8_t sevenSegmentSet(char input[4],uint8_t dpPosition)
{
	set_segmented_display(input, dpPosition);
	//needs to be determined
	k_msleep(4);

	return 0;
}

uint8_t startledSet(bool value)
{
	set_start_button(value);
	return 0;
}

uint8_t lcdStringWrite(char *msg)
{
	set_lcd_display(msg);

	return 0;
}

uint8_t lcdEnable()
{
	return 0;
}

uint8_t lcdDisable()
{
	return 0;
}
```

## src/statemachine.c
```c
// Includes: own header file, hardware headers, minigame headers, framework headers, system headers (sorted alpabetically)
#include <zephyr/device.h>
#include <zephyr/drivers/gpio.h>
#include <zephyr/kernel.h>
#include <zephyr/sys/util.h>
#include <zephyr/sys/printk.h>

#include <stdio.h>
#include "statemachine.h"
#include "threads.h"

#include "idle.h"
#include "minigame2.h"
#include "minigame4.h"
#include "minigame6.h"


// Setup state machine
struct state;
typedef void state_fn(struct state *);

struct state {
	state_fn *next;
	int i;
};

state_fn init_state, idle_state, mg1_state, mg2_state, mg3_state, mg4_state, mg5_state, mg6_state, mg7_state, mg8_state, mg9_state, mg10_state, exit_state;
// Array of state functions
state_fn* minigame_states[] = {
    mg1_state, mg2_state, mg3_state, mg4_state, mg5_state,
    mg6_state, mg7_state, mg8_state, mg9_state, mg10_state
};

// State functions
void init_state(struct state *state) {
	printk("Initialization\n");
	disableAllThreads();

	Startupdelay = 0;
	state->next = idle_state;
}

void idle_state(struct state *state) {
	char **names;
	unsigned amount;
	getIdleThreads(&names, &amount);
	enableThreads(names, amount);
	int ret = playIdle();
	disableThreads(names, amount);
	printk("idle state\n");

	if (ret < -1 || ret > 9) {
		printk("Error in idle state\n");
		state->next = 0;
	} else if (ret == -1) {
		printk("Going to exit state\n");
		state->next = exit_state;
	} else {
		state->next = minigame_states[ret];
	}
	printk("idle state exit\n");
}

void mg1_state(struct state *state) { // Makes use of button and led
	// Initialise state, enable and disable corresponding threads
	printk("Minigame 1\n");

/*	char **names;
	unsigned amount;
 	getMg1Threads(&names, &amount);
	enableThreads(names, amount);

	int ret = playMg1();

	disableThreads(names, amount); */

	state->next = idle_state;
}

void mg2_state(struct state *state) { // Makes use of gyro and buzzer
	printk("Minigame 2\n");

	char **names;
	unsigned amount;
	getMg2Threads(&names, &amount);
	enableThreads(names, amount);
	printk("Minigame 2 threads enabled\n");

	int ret = playMg2();

	disableThreads(names, amount);
	printk("Minigame 2 threads disabled\n");

	state->next = idle_state;
}

void mg3_state(struct state *state) { // Makes use of gyro and buzzer
	printk("Minigame 3\n");

/*	char **names;
	unsigned amount;
 	getMg3Threads(&names, &amount);
	enableThreads(names, amount);

	int ret = playMg3();

	disableThreads(names, amount); */

	state->next = idle_state;
}

void mg4_state(struct state *state) { // Makes use of gyro and buzzer
	printk("Minigame 4\n");

	char **names;
	unsigned amount;
 	getMg4Threads(&names, &amount);
	enableThreads(names, amount);

	int ret = playMg4();

	disableThreads(names, amount); 

	state->next = idle_state;
}

void mg5_state(struct state *state) { // Makes use of gyro and buzzer
	printk("Minigame 5\n");

 /* char **names;
	unsigned amount;
 	getMg5Threads(&names, &amount);
	enableThreads(names, amount);

	int ret = playMg5();

	disableThreads(names, amount); */

	state->next = idle_state;
}

void mg6_state(struct state *state) { // Makes use of gyro and buzzer
	printk("Minigame 6\n");

	char **names;
	unsigned amount;
	getMg6Threads(&names, &amount);
	enableThreads(names, amount);

	int ret = playMg6();

	disableThreads(names, amount);
	state->next = idle_state;
}

void mg7_state(struct state *state) { // Makes use of gyro and buzzer
	printk("Minigame 7\n");

/* 	char **names;
	unsigned amount;
	getMg7Threads(&names, &amount);
	enableThreads(names, amount);

	int ret = playMg7();

	disableThreads(names, amount); */

	state->next = idle_state;
}

void mg8_state(struct state *state) { // Makes use of gyro and buzzer
	printk("Minigame 8\n");

/* 	char **names;
	unsigned amount;
 	getMg8Threads(&names, &amount);
	enableThreads(names, amount);

	int ret = playMg8();

	disableThreads(names, amount); */

	state->next = idle_state;
}

void mg9_state(struct state *state) { // Makes use of gyro and buzzer
	printk("Minigame 9\n");

/* 	char **names;
	unsigned amount;
 	getMg9Threads(&names, &amount);
	enableThreads(names, amount);

	int ret = playMg9();

	disableThreads(names, amount); */

	state->next = idle_state;
}

void mg10_state(struct state *state) { // Makes use of gyro and buzzer
	printk("Minigame 10\n");

/* 	char **names;
	unsigned amount;
 	getMg10Threads(&names, &amount);
	enableThreads(names, amount);

	int ret = playMg10();

	disableThreads(names, amount); */

	state->next = idle_state;
}

void exit_state(struct state *state) {
	printk("Exit state");
	disableAllThreads(); // Shouldn't be required, but just to be sure
	state->next = 0;
}

void startStatemachine() {
	struct state state = {init_state, 0};
	while (state.next) state.next(&state);
}
```
